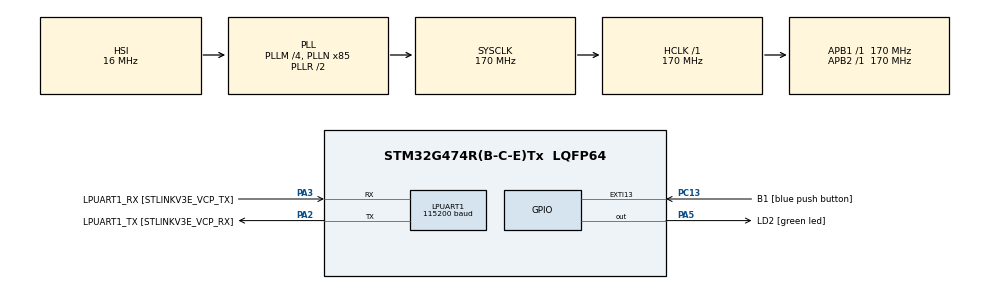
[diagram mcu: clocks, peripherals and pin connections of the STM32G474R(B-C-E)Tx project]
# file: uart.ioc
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Dma.LPUART1_TX.0.Direction=DMA_MEMORY_TO_PERIPH
Dma.LPUART1_TX.0.EventEnable=DISABLE
Dma.LPUART1_TX.0.Instance=DMA1_Channel1
Dma.LPUART1_TX.0.MemDataAlignment=DMA_MDATAALIGN_BYTE
Dma.LPUART1_TX.0.MemInc=DMA_MINC_ENABLE
Dma.LPUART1_TX.0.Mode=DMA_NORMAL
Dma.LPUART1_TX.0.PeriphDataAlignment=DMA_PDATAALIGN_BYTE
Dma.LPUART1_TX.0.PeriphInc=DMA_PINC_DISABLE
Dma.LPUART1_TX.0.Polarity=HAL_DMAMUX_REQ_GEN_RISING
Dma.LPUART1_TX.0.Priority=DMA_PRIORITY_LOW
Dma.LPUART1_TX.0.RequestNumber=1
Dma.LPUART1_TX.0.SignalID=NONE
Dma.LPUART1_TX.0.SyncEnable=DISABLE
Dma.LPUART1_TX.0.SyncPolarity=HAL_DMAMUX_SYNC_NO_EVENT
Dma.LPUART1_TX.0.SyncRequestNumber=1
Dma.LPUART1_TX.0.SyncSignalID=NONE
Dma.Request0=LPUART1_TX
LPUART1.BaudRate=115200
LPUART1.WordLength=UART_WORDLENGTH_8B
Mcu.Family=STM32G4
Mcu.Name=STM32G474R(B-C-E)Tx
Mcu.Package=LQFP64
NVIC.DMA1_Channel1_IRQn=true\:0\:0\:false\:false\:true\:false\:true\:true
NVIC.EXTI15_10_IRQn=true\:0\:0\:false\:false\:true\:true\:true\:true
NVIC.LPUART1_IRQn=true\:0\:0\:false\:false\:true\:true\:true\:true
NVIC.PriorityGroup=NVIC_PRIORITYGROUP_4
PA13.GPIO_Label=T_SWDIO
PA13.Mode=Serial_Wire
PA13.Signal=SYS_JTMS-SWDIO
PA14.GPIO_Label=T_SWCLK
PA14.Mode=Serial_Wire
PA14.Signal=SYS_JTCK-SWCLK
PA2.GPIO_Label=LPUART1_TX [STLINKV3E_VCP_RX]
PA2.Mode=Asynchronous
PA2.Signal=LPUART1_TX
PA3.GPIO_Label=LPUART1_RX [STLINKV3E_VCP_TX]
PA3.Mode=Asynchronous
PA3.Signal=LPUART1_RX
PA5.GPIO_Label=LD2 [green led]
PA5.Signal=GPIO_Output
PB3.GPIO_Label=T_SWO
PB3.Signal=SYS_JTDO-SWO
PC13.GPIO_Label=B1 [blue push button]
PC13.Signal=GPXTI13
PC14-OSC32_IN.Mode=LSE-External-Oscillator
PC14-OSC32_IN.Signal=RCC_OSC32_IN
PC15-OSC32_OUT.Mode=LSE-External-Oscillator
PC15-OSC32_OUT.Signal=RCC_OSC32_OUT
PF0-OSC_IN.Mode=HSE-External-Oscillator
PF0-OSC_IN.Signal=RCC_OSC_IN
PF1-OSC_OUT.Mode=HSE-External-Oscillator
PF1-OSC_OUT.Signal=RCC_OSC_OUT
ProjectManager.HeapSize=0x200
ProjectManager.StackSize=0x400
ProjectManager.TargetToolchain=STM32CubeIDE
RCC.ADC12Freq_Value=170000000
RCC.ADC345Freq_Value=170000000
RCC.AHBFreq_Value=170000000
RCC.APB1Freq_Value=170000000
RCC.APB1TimFreq_Value=170000000
RCC.APB2Freq_Value=170000000
RCC.APB2TimFreq_Value=170000000
RCC.CortexFreq_Value=170000000
RCC.EXTERNAL_CLOCK_VALUE=12288000
RCC.HCLKFreq_Value=170000000
RCC.HSE_VALUE=24000000
RCC.HSI48_VALUE=48000000
RCC.HSI_VALUE=16000000
RCC.PLLM=RCC_PLLM_DIV4
RCC.PLLN=85
RCC.RTCClockSelection=RCC_RTCCLKSOURCE_LSE
RCC.SYSCLKFreq_VALUE=170000000
RCC.SYSCLKSource=RCC_SYSCLKSOURCE_PLLCLK
RCC.USBFreq_Value=170000000
RCC.VCOOutputFreq_Value=340000000
VP_SYS_VS_DBSignals.Mode=DisableDeadBatterySignals
board=NUCLEO-G474RE

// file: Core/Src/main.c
/* USER CODE BEGIN Header */
/**
  ******************************************************************************
  * @file           : main.c
  * @brief          : Main program body
  ******************************************************************************
  * @attention
  *
  * Copyright (c) 2023 STMicroelectronics.
  * All rights reserved.
  *
  * This software is licensed under terms that can be found in the LICENSE file
  * in the root directory of this software component.
  * If no LICENSE file comes with this software, it is provided AS-IS.
  *
  ******************************************************************************
  */
/* USER CODE END Header */
#include "main.h"

UART_HandleTypeDef hlpuart1;
DMA_HandleTypeDef hdma_lpuart1_tx;

void SystemClock_Config(void);
static void MX_GPIO_Init(void);
static void MX_DMA_Init(void);
static void MX_LPUART1_UART_Init(void);

/* USER CODE BEGIN 0 */
#define BUFF_SIZE 255
#define CHAR_CR 0x0d
#define TRUE 1
#define FALSE 0

char msg[] = "I'm G474!\n";

uint8_t flagrcved;
uint16_t rcvlength;
uint8_t rcvbuffer[BUFF_SIZE];
uint8_t sndbuffer[BUFF_SIZE];

void HAL_UART_RxCpltCallback(UART_HandleTypeDef *huart)
{
    flagrcved = TRUE;           /* 受信完了フラグ設定 */
}
/* USER CODE END 0 */

int main(void)
{

  /* MCU Configuration--------------------------------------------------------*/

  /* Reset of all peripherals, Initializes the Flash interface and the Systick. */
  HAL_Init();

  /* Configure the system clock */
  SystemClock_Config();

  /* Initialize all configured peripherals */
  MX_GPIO_Init();
  MX_DMA_Init();
  MX_LPUART1_UART_Init();

  /* Infinite loop */
  /* USER CODE BEGIN WHILE */
  while (1)
  {
	  do
	  {
		  HAL_UART_Receive_IT(&hlpuart1, rcvbuffer, 1);

		  while(flagrcved == FALSE)
		  {
			  ;
		  }

		  sndbuffer[rcvlength] = rcvbuffer[0];
		        rcvlength++;
		        flagrcved = FALSE;
		      } while ((rcvbuffer[0] != CHAR_CR) && (rcvlength < BUFF_SIZE));

		      /* 受信した内容を送信 */
		      HAL_UART_Transmit_IT(&hlpuart1, sndbuffer, rcvlength);
		      rcvlength = 0;
    /* USER CODE END WHILE */

  }
}

void SystemClock_Config(void)
{
  RCC_OscInitTypeDef RCC_OscInitStruct = {0};
  RCC_ClkInitTypeDef RCC_ClkInitStruct = {0};

  /** Configure the main internal regulator output voltage
  */
  HAL_PWREx_ControlVoltageScaling(PWR_REGULATOR_VOLTAGE_SCALE1_BOOST);

  /** Initializes the RCC Oscillators according to the specified parameters
  * in the RCC_OscInitTypeDef structure.
  */
  RCC_OscInitStruct.OscillatorType = RCC_OSCILLATORTYPE_HSI;
  RCC_OscInitStruct.HSIState = RCC_HSI_ON;
  RCC_OscInitStruct.HSICalibrationValue = RCC_HSICALIBRATION_DEFAULT;
  RCC_OscInitStruct.PLL.PLLState = RCC_PLL_ON;
  RCC_OscInitStruct.PLL.PLLSource = RCC_PLLSOURCE_HSI;
  RCC_OscInitStruct.PLL.PLLM = RCC_PLLM_DIV4;
  RCC_OscInitStruct.PLL.PLLN = 85;
  RCC_OscInitStruct.PLL.PLLP = RCC_PLLP_DIV2;
  RCC_OscInitStruct.PLL.PLLQ = RCC_PLLQ_DIV2;
  RCC_OscInitStruct.PLL.PLLR = RCC_PLLR_DIV2;
  if (HAL_RCC_OscConfig(&RCC_OscInitStruct) != HAL_OK)
  {
    Error_Handler();
  }

  /** Initializes the CPU, AHB and APB buses clocks
  */
  RCC_ClkInitStruct.ClockType = RCC_CLOCKTYPE_HCLK|RCC_CLOCKTYPE_SYSCLK
                              |RCC_CLOCKTYPE_PCLK1|RCC_CLOCKTYPE_PCLK2;
  RCC_ClkInitStruct.SYSCLKSource = RCC_SYSCLKSOURCE_PLLCLK;
  RCC_ClkInitStruct.AHBCLKDivider = RCC_SYSCLK_DIV1;
  RCC_ClkInitStruct.APB1CLKDivider = RCC_HCLK_DIV1;
  RCC_ClkInitStruct.APB2CLKDivider = RCC_HCLK_DIV1;

  if (HAL_RCC_ClockConfig(&RCC_ClkInitStruct, FLASH_LATENCY_4) != HAL_OK)
  {
    Error_Handler();
  }
}

static void MX_LPUART1_UART_Init(void)
{

  hlpuart1.Instance = LPUART1;
  hlpuart1.Init.BaudRate = 115200;
  hlpuart1.Init.WordLength = UART_WORDLENGTH_8B;
  hlpuart1.Init.StopBits = UART_STOPBITS_1;
  hlpuart1.Init.Parity = UART_PARITY_NONE;
  hlpuart1.Init.Mode = UART_MODE_TX_RX;
  hlpuart1.Init.HwFlowCtl = UART_HWCONTROL_NONE;
  hlpuart1.Init.OneBitSampling = UART_ONE_BIT_SAMPLE_DISABLE;
  hlpuart1.Init.ClockPrescaler = UART_PRESCALER_DIV1;
  hlpuart1.AdvancedInit.AdvFeatureInit = UART_ADVFEATURE_NO_INIT;
  if (HAL_UART_Init(&hlpuart1) != HAL_OK)
  {
    Error_Handler();
  }
  if (HAL_UARTEx_SetTxFifoThreshold(&hlpuart1, UART_TXFIFO_THRESHOLD_1_8) != HAL_OK)
  {
    Error_Handler();
  }
  if (HAL_UARTEx_SetRxFifoThreshold(&hlpuart1, UART_RXFIFO_THRESHOLD_1_8) != HAL_OK)
  {
    Error_Handler();
  }
  if (HAL_UARTEx_DisableFifoMode(&hlpuart1) != HAL_OK)
  {
    Error_Handler();
  }

}

static void MX_DMA_Init(void)
{

  /* DMA controller clock enable */
  __HAL_RCC_DMAMUX1_CLK_ENABLE();
  __HAL_RCC_DMA1_CLK_ENABLE();

  /* DMA interrupt init */
  /* DMA1_Channel1_IRQn interrupt configuration */
  HAL_NVIC_SetPriority(DMA1_Channel1_IRQn, 0, 0);
  HAL_NVIC_EnableIRQ(DMA1_Channel1_IRQn);

}

static void MX_GPIO_Init(void)
{
  GPIO_InitTypeDef GPIO_InitStruct = {0};

  /* GPIO Ports Clock Enable */
  __HAL_RCC_GPIOC_CLK_ENABLE();
  __HAL_RCC_GPIOF_CLK_ENABLE();
  __HAL_RCC_GPIOA_CLK_ENABLE();
  __HAL_RCC_GPIOB_CLK_ENABLE();

  /*Configure GPIO pin Output Level */
  HAL_GPIO_WritePin(LD2_GPIO_Port, LD2_Pin, GPIO_PIN_RESET);

  /*Configure GPIO pin : B1_Pin */
  GPIO_InitStruct.Pin = B1_Pin;
  GPIO_InitStruct.Mode = GPIO_MODE_IT_RISING;
  GPIO_InitStruct.Pull = GPIO_NOPULL;
  HAL_GPIO_Init(B1_GPIO_Port, &GPIO_InitStruct);

  /*Configure GPIO pin : LD2_Pin */
  GPIO_InitStruct.Pin = LD2_Pin;
  GPIO_InitStruct.Mode = GPIO_MODE_OUTPUT_PP;
  GPIO_InitStruct.Pull = GPIO_NOPULL;
  GPIO_InitStruct.Speed = GPIO_SPEED_FREQ_LOW;
  HAL_GPIO_Init(LD2_GPIO_Port, &GPIO_InitStruct);

  /* EXTI interrupt init*/
  HAL_NVIC_SetPriority(EXTI15_10_IRQn, 0, 0);
  HAL_NVIC_EnableIRQ(EXTI15_10_IRQn);

}

void Error_Handler(void)
{
  __disable_irq();
  while (1)
  {
  }
}
